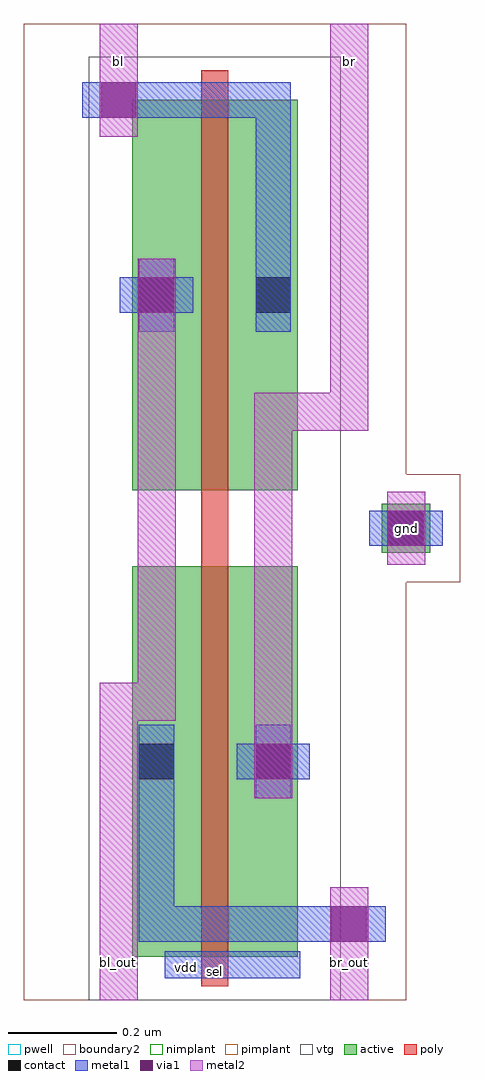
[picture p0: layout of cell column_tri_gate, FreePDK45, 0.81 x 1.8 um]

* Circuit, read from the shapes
.subckt column_tri_gate bl bl_out br br_out gnd sel vdd
M1 br sel br_out gnd nfet w=0.72u l=0.05u
M2 bl sel bl_out gnd nfet w=0.72u l=0.05u
.ends

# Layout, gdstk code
import gdstk
lib = gdstk.Library(unit=1e-6, precision=5e-10)
def R(c, l, rs):  # rectangles x0, y0, x1, y1
    for r in rs: c.add(gdstk.rectangle(r[:2], r[2:], *l))
def A(c, l, x, y, w, h, nx, ny, dx, dy):  # array of equal rectangles
    R(c, l, [(x+i*dx, y+j*dy, x+i*dx+w, y+j*dy+h) for i in range(nx) for j in range(ny)])
active = (1, 0)
pwell = (2, 0)
nimplant = (4, 0)
pimplant = (5, 0)
vtg = (6, 0)
poly = (9, 0)
contact = (10, 0)
metal1 = (11, 0)
via1 = (12, 0)
metal2 = (13, 0)
boundary2 = (239, 0)

sram_1rw0r0w_8_256_freep = lib.new_cell('sram_1rw0r0w_8_256_freepdk45_contact_10')
R(sram_1rw0r0w_8_256_freep, active, [(0,0.0225,0.09,0.1125)])
R(sram_1rw0r0w_8_256_freep, pwell, [(-0.055,-0.0325,0.145,0.1675)])
R(sram_1rw0r0w_8_256_freep, nimplant, [(0,0.0225,0.09,0.1125)])
R(sram_1rw0r0w_8_256_freep, contact, [(0.0125,0.035,0.0775,0.1)])
R(sram_1rw0r0w_8_256_freep, metal1, [(0.0125,0,0.0775,0.135)])
R(sram_1rw0r0w_8_256_freep, boundary2, [(-0.055,-0.0325,0.145,0.1675)])

c_sram_1rw0r0w_8_256_freep = lib.new_cell('sram_1rw0r0w_8_256_freepdk45_nmos_m1_w0_720_sm1_dm1')
R(c_sram_1rw0r0w_8_256_freep, active, [(0,0,0.305,0.72)])
R(c_sram_1rw0r0w_8_256_freep, pwell, [(-0.08,-0.08,0.385,0.8)])
R(c_sram_1rw0r0w_8_256_freep, nimplant, [(0,0,0.305,0.72)])
R(c_sram_1rw0r0w_8_256_freep, vtg, [(-0.08,-0.08,0.385,0.8)])
R(c_sram_1rw0r0w_8_256_freep, poly, [(0.1275,-0.055,0.1775,0.775), (0.1275,-0.055,0.1775,0.775)])
R(c_sram_1rw0r0w_8_256_freep, metal1, [(0.0125,0.2925,0.0775,0.4275), (0.2275,0.2925,0.2925,0.4275)])
R(c_sram_1rw0r0w_8_256_freep, boundary2, [(-0.08,-0.08,0.385,0.8)])
c_sram_1rw0r0w_8_256_freep.add(gdstk.Reference(sram_1rw0r0w_8_256_freep, (0,0.2925)))
c_sram_1rw0r0w_8_256_freep.add(gdstk.Reference(sram_1rw0r0w_8_256_freep, (0.215,0.2925)))
c_sram_1rw0r0w_8_256_freep.add(gdstk.Label('G', (0.1525,0.36), layer=9, texttype=0))
c_sram_1rw0r0w_8_256_freep.add(gdstk.Label('S', (0.045,0.36), layer=11, texttype=0))
c_sram_1rw0r0w_8_256_freep.add(gdstk.Label('D', (0.26,0.36), layer=11, texttype=0))

c_sram_1rw0r0w_8_256_freep_ = lib.new_cell('sram_1rw0r0w_8_256_freepdk45_contact_17')
R(c_sram_1rw0r0w_8_256_freep_, metal1, [(0,0.035,0.135,0.1)])
R(c_sram_1rw0r0w_8_256_freep_, via1, [(0.035,0.035,0.1,0.1)])
R(c_sram_1rw0r0w_8_256_freep_, metal2, [(0.0325,0,0.1025,0.135)])
R(c_sram_1rw0r0w_8_256_freep_, boundary2, [(0,0,0.135,0.135)])

c_sram_1rw0r0w_8_256_freep__ = lib.new_cell('sram_1rw0r0w_8_256_freepdk45_contact_24')
R(c_sram_1rw0r0w_8_256_freep__, active, [(0.0225,0,0.1125,0.09)])
R(c_sram_1rw0r0w_8_256_freep__, pwell, [(-0.0325,-0.055,0.1675,0.145)])
R(c_sram_1rw0r0w_8_256_freep__, pimplant, [(0.0225,0,0.1125,0.09)])
R(c_sram_1rw0r0w_8_256_freep__, contact, [(0.035,0.0125,0.1,0.0775)])
R(c_sram_1rw0r0w_8_256_freep__, metal1, [(0,0.0125,0.135,0.0775)])
R(c_sram_1rw0r0w_8_256_freep__, boundary2, [(-0.0325,-0.055,0.1675,0.145)])

column_tri_gate = lib.new_cell('column_tri_gate')
R(column_tri_gate, pwell, [(0,0,0.705,1.8)])
R(column_tri_gate, poly, [(0.3275,0.025,0.3775,0.08), (0.3275,0.8,0.3775,0.94)])
R(column_tri_gate, metal1, [(0.26,0.04,0.51,0.09), (0.2125,0.1075,0.2775,0.1725), (0.245,0.1075,0.6,0.1725), (0.2125,0.14,0.2775,0.44), (0.6725,0.8375,0.7375,0.9025), (0.4275,1.3,0.4925,1.66), (0.14,1.6275,0.46,1.6925), (0.4275,1.6275,0.4925,1.6925)])
A(column_tri_gate, metal2, 0.14, 0.515, 0.07, 0.07, 3, 1, 0.035, 0)
R(column_tri_gate, metal2, [(0.14,0,0.21,0.14), (0.565,0,0.635,0.14), (0.14,0.14,0.21,0.55), (0.425,0.44,0.495,1.085), (0.21,0.55,0.28,1.3), (0.425,1.05,0.495,1.12), (0.46,1.05,0.6,1.12), (0.565,1.05,0.635,1.12), (0.565,1.085,0.635,1.66), (0.14,1.66,0.21,1.8), (0.565,1.66,0.635,1.8)])
R(column_tri_gate, boundary2, [(0,0,0.705,1.8)])
column_tri_gate.add(gdstk.Reference(c_sram_1rw0r0w_8_256_freep, (0.2,0.08)))
column_tri_gate.add(gdstk.Reference(c_sram_1rw0r0w_8_256_freep, (0.2,0.94)))
column_tri_gate.add(gdstk.Reference(c_sram_1rw0r0w_8_256_freep_, (0.1075,1.5925)))
column_tri_gate.add(gdstk.Reference(c_sram_1rw0r0w_8_256_freep_, (0.5325,0.0725)))
column_tri_gate.add(gdstk.Reference(c_sram_1rw0r0w_8_256_freep_, (0.1775,1.2325)))
column_tri_gate.add(gdstk.Reference(c_sram_1rw0r0w_8_256_freep_, (0.3925,0.3725)))
column_tri_gate.add(gdstk.Reference(c_sram_1rw0r0w_8_256_freep__, (0.6375,0.825)))
column_tri_gate.add(gdstk.Reference(c_sram_1rw0r0w_8_256_freep_, (0.6375,0.8025)))
column_tri_gate.add(gdstk.Label('sel', (0.3525,0.0525), layer=9, texttype=0))
column_tri_gate.add(gdstk.Label('bl', (0.175,1.73), layer=13, texttype=0))
column_tri_gate.add(gdstk.Label('br', (0.6,1.73), layer=13, texttype=0))
column_tri_gate.add(gdstk.Label('bl_out', (0.175,0.07), layer=13, texttype=0))
column_tri_gate.add(gdstk.Label('br_out', (0.6,0.07), layer=13, texttype=0))
column_tri_gate.add(gdstk.Label('gnd', (0.705,0.87), layer=11, texttype=0))
column_tri_gate.add(gdstk.Label('vdd', (0.3,0.06), layer=11, texttype=0))

lib.write_gds('column_tri_gate.gds')
